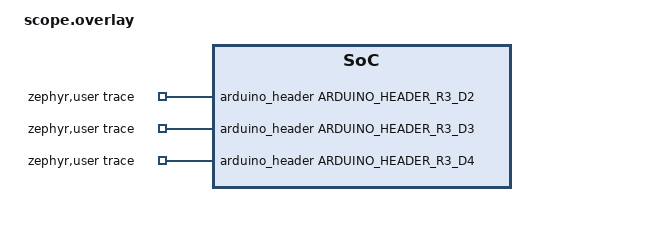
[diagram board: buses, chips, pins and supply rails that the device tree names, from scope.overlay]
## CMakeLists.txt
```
cmake_minimum_required(VERSION 3.20.0)

find_package(Zephyr REQUIRED HINTS $ENV{ZEPHYR_BASE})
project(priority_inversion)

# One demo; prj.conf selects which lock it uses (see Kconfig).
# For logic-analyser pins, build with -DEXTRA_DTC_OVERLAY_FILE=scope.overlay
target_sources(app PRIVATE src/main.c src/hml.c)
```

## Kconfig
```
# Application options for 08_priority_inversion.
# Change them in prj.conf; no code edits are needed for the experiments.

mainmenu "08_priority_inversion"

choice APP_LOCK
	prompt "What protects the resource that L and H share"
	default APP_LOCK_SEM

config APP_LOCK_SEM
	bool "A binary k_sem: no owner, no inheritance (unbounded inversion)"

config APP_LOCK_MUTEX
	bool "A k_mutex: priority inheritance (bounded inversion)"

config APP_LOCK_CEILING
	bool "A k_mutex plus an immediate priority ceiling done by hand"

endchoice

config APP_REPORT_PERIOD_MS
	int "The scenario repeats, and main prints its trace, every ... ms"
	default 3000
	range 1000 60000

config APP_DEBOUNCE_MS
	int "Ignore button edges closer than this to the last accepted one (ms, 0 = off)"
	default 50

config APP_UNIT_MS
	int "Length of one tick of Lesson 11's scenario (ms)"
	default 100
	range 10 1000
	help
	  The scenario is written in Lesson 11's ticks. 100 ms makes every
	  phase long enough to see on the LEDs.

# --- The scenario, in units (Lesson 11, worked scenario) ---

config APP_L_BEFORE
	int "L: work before the lock (units)"
	default 1

config APP_L_INSIDE
	int "L: work inside the lock (units)"
	default 4
	range 1 100

config APP_L_AFTER
	int "L: work after the lock (units)"
	default 1

config APP_H_RELEASE
	int "H is released at (units)"
	default 2

config APP_H_BEFORE
	int "H: work before the lock (units)"
	default 1

config APP_H_INSIDE
	int "H: work inside the lock (units)"
	default 2
	range 1 100

config APP_H_AFTER
	int "H: work after the lock (units)"
	default 1

config APP_M_RELEASE
	int "M is released at (units)"
	default 3

config APP_M_WORK
	int "M: work, never touching the lock (units)"
	default 6
	range 1 100

config APP_BUTTON_EXTRA
	int "The button gives M this much more work in the next cycle (units)"
	default 5

source "Kconfig.zephyr"
```

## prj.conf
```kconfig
# --- Drivers ---
CONFIG_GPIO=y

# --- Scheduling ---
# Lower number = higher priority. H 2, M 3, L 4.
# main() prints the trace of each cycle after it ends: least urgent.
CONFIG_MAIN_THREAD_PRIORITY=7
CONFIG_THREAD_NAME=y

# --- Timing measurements (the DWT cycle counter on the Cortex-M7) ---
CONFIG_TIMING_FUNCTIONS=y

# --- Debugging ---
CONFIG_ASSERT=y

# --- The lock: uncomment exactly one line ---
CONFIG_APP_LOCK_SEM=y
# CONFIG_APP_LOCK_MUTEX=y
# CONFIG_APP_LOCK_CEILING=y

# Experiment B1: cap priority inheritance (kernel option; default -127 = no cap).
# CONFIG_PRIORITY_CEILING=4

# --- Common options (see Kconfig) ---
CONFIG_APP_REPORT_PERIOD_MS=3000
CONFIG_APP_DEBOUNCE_MS=50

# --- The scenario (Lesson 11), in units of CONFIG_APP_UNIT_MS ---
CONFIG_APP_UNIT_MS=100
CONFIG_APP_L_BEFORE=1
CONFIG_APP_L_INSIDE=4
CONFIG_APP_L_AFTER=1
CONFIG_APP_H_RELEASE=2
CONFIG_APP_H_BEFORE=1
CONFIG_APP_H_INSIDE=2
CONFIG_APP_H_AFTER=1
CONFIG_APP_M_RELEASE=3
CONFIG_APP_M_WORK=6
CONFIG_APP_BUTTON_EXTRA=5
```

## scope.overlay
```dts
/*
 * Optional: three trace pins on the Arduino header, for a logic analyser
 * or an oscilloscope. Build with -DEXTRA_DTC_OVERLAY_FILE=scope.overlay
 *
 *   D2  high while H waits for the lock
 *   D3  high while L holds the lock
 *   D4  high from M's release until M is done
 */

#include <zephyr/dt-bindings/gpio/arduino-header-r3.h>

/ {
	zephyr,user {
		trace-gpios = <&arduino_header ARDUINO_HEADER_R3_D2 GPIO_ACTIVE_HIGH>,
			      <&arduino_header ARDUINO_HEADER_R3_D3 GPIO_ACTIVE_HIGH>,
			      <&arduino_header ARDUINO_HEADER_R3_D4 GPIO_ACTIVE_HIGH>;
	};
};
```

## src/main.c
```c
/*
 * 08_priority_inversion: common part
 * Board: STM32F769I-DISCO, Zephyr RTOS
 *
 * This file owns the hardware: the blue USER button, the red event LED
 * (LD1) and the green heartbeat LED (LD2). It sets them up, debounces the
 * button and forwards presses to the demo, and then runs at the lowest
 * priority, blinking the heartbeat and calling demo_report().
 *
 * The H/M/L scenario is in src/hml.c; prj.conf selects the lock it uses.
 *
 * Theory: resources/webpages/11_priority_inversion.html
 */

#include <zephyr/kernel.h>
#include <zephyr/drivers/gpio.h>
#include <zephyr/sys/printk.h>

#include "demo.h"

#define HEARTBEAT_PERIOD_MS 500

static const struct gpio_dt_spec button        = GPIO_DT_SPEC_GET(DT_ALIAS(sw0), gpios);
static const struct gpio_dt_spec event_led     = GPIO_DT_SPEC_GET(DT_ALIAS(led0), gpios);
static const struct gpio_dt_spec heartbeat_led = GPIO_DT_SPEC_GET(DT_ALIAS(led1), gpios);

static struct gpio_callback button_cb;

void event_led_toggle(void)
{
	gpio_pin_toggle_dt(&event_led);
}

void event_led_set(bool on)
{
	gpio_pin_set_dt(&event_led, on ? 1 : 0);
}

/* GPIO callback: on the STM32 this runs inside the EXTI interrupt. */
static void button_isr(const struct device *dev, struct gpio_callback *cb, uint32_t pins)
{
	ARG_UNUSED(dev);
	ARG_UNUSED(cb);

	if (!(pins & BIT(button.pin))) {
		return;
	}

#if CONFIG_APP_DEBOUNCE_MS > 0
	/*
	 * Contact bounce produces several edges per press. Accept an edge
	 * only if the last accepted one is at least DEBOUNCE_MS old. Only
	 * this ISR uses last_accepted, so no lock is needed.
	 */
	static int64_t last_accepted = -CONFIG_APP_DEBOUNCE_MS;
	int64_t now = k_uptime_get();

	if (now - last_accepted < CONFIG_APP_DEBOUNCE_MS) {
		return;
	}
	last_accepted = now;
#endif

	demo_button_pressed();
}

int main(void)
{
	int ret;

	if (!gpio_is_ready_dt(&button) || !gpio_is_ready_dt(&event_led) ||
	    !gpio_is_ready_dt(&heartbeat_led)) {
		printk("ERROR: GPIO device not ready\n");
		return 0;
	}

	ret = gpio_pin_configure_dt(&event_led, GPIO_OUTPUT_INACTIVE);
	ret |= gpio_pin_configure_dt(&heartbeat_led, GPIO_OUTPUT_INACTIVE);
	ret |= gpio_pin_configure_dt(&button, GPIO_INPUT);
	if (ret < 0) {
		printk("ERROR: could not configure GPIO pins\n");
		return 0;
	}

	ret = gpio_pin_interrupt_configure_dt(&button, GPIO_INT_EDGE_TO_ACTIVE);
	if (ret < 0) {
		printk("ERROR: could not configure button interrupt (%d)\n", ret);
		return 0;
	}

	gpio_init_callback(&button_cb, button_isr, BIT(button.pin));
	gpio_add_callback(button.port, &button_cb);

	printk("\n08_priority_inversion on %s\n", CONFIG_BOARD);
	demo_start();

	/* Heartbeat and periodic report, at the lowest priority. */
	int64_t next_report = k_uptime_get() + CONFIG_APP_REPORT_PERIOD_MS;

	while (1) {
		gpio_pin_toggle_dt(&heartbeat_led);
		k_msleep(HEARTBEAT_PERIOD_MS);

		if (k_uptime_get() >= next_report) {
			next_report += CONFIG_APP_REPORT_PERIOD_MS;
			demo_report();
		}
	}

	return 0;
}
```

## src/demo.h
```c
/*
 * The interface between main.c (hardware, heartbeat, reporting) and the
 * demo in hml.c. prj.conf selects which lock it uses.
 */
#ifndef DEMO_H_
#define DEMO_H_

#include <stdbool.h>

/* Implemented by the demo. */
void demo_start(void);           /* once, from main(), after the GPIO setup */
void demo_button_pressed(void);  /* from the button ISR (debounced): interrupt context */
void demo_report(void);          /* every CONFIG_APP_REPORT_PERIOD_MS, from main() */

/* Implemented by main.c. Both are safe to call from an ISR. */
void event_led_toggle(void);
void event_led_set(bool on);

#endif /* DEMO_H_ */
```

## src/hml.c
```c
/*
 * 08_priority_inversion: Lesson 11's H/M/L scenario, on the board
 *
 *   L (prio 4), released at 0: works 1, locks, works 4 inside, unlocks, works 1
 *   H (prio 2), released at 2: works 1, locks, works 2 inside, unlocks, works 1
 *   M (prio 3), released at 3: works 6, never touches the lock
 *
 * Times are in units of CONFIG_APP_UNIT_MS (100 ms). "Works" is CPU time:
 * k_busy_wait() in 1 ms chunks. Between chunks each task notices when it
 * was preempted, and when its priority changed, and writes that into a
 * trace. The scenario repeats every CONFIG_APP_REPORT_PERIOD_MS; after
 * each run, main prints the trace and H's response and blocking times.
 *
 * prj.conf selects the lock:
 *   APP_LOCK_SEM      a binary k_sem: unbounded inversion
 *   APP_LOCK_MUTEX    a k_mutex: priority inheritance, bounded
 *   APP_LOCK_CEILING  a k_mutex, and L and H raise themselves to the
 *                     ceiling (H's priority) for as long as they hold it
 */

#include <errno.h>
#include <zephyr/kernel.h>
#include <zephyr/drivers/gpio.h>
#include <zephyr/sys/atomic.h>
#include <zephyr/sys/printk.h>
#include <zephyr/sys/util.h>
#include <zephyr/timing/timing.h>

#include "demo.h"

#define STACK_SIZE   1024
#define H_PRIORITY   2
#define M_PRIORITY   3
#define L_PRIORITY   4
#define CEILING      H_PRIORITY      /* the highest priority of any user of the lock */

#define UNIT_MS      CONFIG_APP_UNIT_MS
#define CYCLE_MS     CONFIG_APP_REPORT_PERIOD_MS
#define FIRST_CYCLE  500             /* ms after start: never during a report */

/* ------------------------------------------------------------------ */
/* The lock                                                            */
/* ------------------------------------------------------------------ */

#if defined(CONFIG_APP_LOCK_SEM)
#define LOCK_NAME "k_sem (no owner, so no inheritance)"
K_SEM_DEFINE(lock_sem, 1, 1);
#else
#define LOCK_NAME (IS_ENABLED(CONFIG_APP_LOCK_CEILING) ? \
		   "k_mutex + immediate ceiling (priority " STRINGIFY(CEILING) " while held)" : \
		   "k_mutex (priority inheritance)")
K_MUTEX_DEFINE(lock_mutex);
#endif

/* ------------------------------------------------------------------ */
/* Optional trace pins (scope.overlay)                                 */
/* ------------------------------------------------------------------ */

#define ZEPHYR_USER DT_PATH(zephyr_user)

enum pin { PIN_H_WAITS, PIN_L_HOLDS, PIN_M_ACTIVE };

#if DT_NODE_HAS_PROP(ZEPHYR_USER, trace_gpios)
static const struct gpio_dt_spec trace_pin[] = {
	GPIO_DT_SPEC_GET_BY_IDX(ZEPHYR_USER, trace_gpios, 0),
	GPIO_DT_SPEC_GET_BY_IDX(ZEPHYR_USER, trace_gpios, 1),
	GPIO_DT_SPEC_GET_BY_IDX(ZEPHYR_USER, trace_gpios, 2),
};
#define HAVE_TRACE_PINS 1
#endif

static void pin_set(enum pin p, bool on)
{
#if defined(HAVE_TRACE_PINS)
	gpio_pin_set_dt(&trace_pin[p], on ? 1 : 0);
#else
	ARG_UNUSED(p);
	ARG_UNUSED(on);
#endif
	if (p == PIN_H_WAITS) {
		event_led_set(on);           /* red LED: H is waiting for the lock */
	}
}

/* ------------------------------------------------------------------ */
/* The trace                                                           */
/* ------------------------------------------------------------------ */

enum ev_kind { EV_RELEASED, EV_STARTS, EV_RESUMES, EV_PRIO, EV_WAITS, EV_LOCKS, EV_UNLOCKS,
	       EV_DONE };

struct event {
	uint32_t t_ms;                   /* from the start of the cycle */
	char who;
	int8_t prio;                     /* the task's priority at that moment */
	uint8_t kind;
	uint32_t arg;
};

#define MAX_EVENTS 48

static struct event trace[MAX_EVENTS];
static unsigned int n_events;
static atomic_t tasks_done;
static int64_t cycle_start;          /* ms since boot */
static uint32_t cycle_number;

/* Results of the last cycle, for the summary line. */
static uint32_t h_response_ms, h_blocked_us, h_work_ms;
static uint32_t worst_response_ms, worst_blocked_us, cycles_done;

static void log_event(char who, uint8_t kind, uint32_t arg, int64_t when)
{
	unsigned int key = irq_lock();

	if (n_events < MAX_EVENTS) {
		trace[n_events++] = (struct event){
			.t_ms = (uint32_t)(when - cycle_start),
			.who = who,
			.prio = (int8_t)k_thread_priority_get(k_current_get()),
			.kind = kind,
			.arg = arg,
		};
	}
	irq_unlock(key);
}

/* ------------------------------------------------------------------ */
/* The three tasks                                                     */
/* ------------------------------------------------------------------ */

struct task {
	char name;
	uint32_t release, before, inside, after;   /* units */
	bool uses_lock;
	int last_prio;
	int64_t last_run;                /* when the last 1 ms chunk ended */
	int saved_prio;                  /* ceiling: the priority to go back to */
};

static struct task task_l = { 'L', 0, CONFIG_APP_L_BEFORE, CONFIG_APP_L_INSIDE,
			      CONFIG_APP_L_AFTER, true };
static struct task task_h = { 'H', CONFIG_APP_H_RELEASE, CONFIG_APP_H_BEFORE,
			      CONFIG_APP_H_INSIDE, CONFIG_APP_H_AFTER, true };
static struct task task_m = { 'M', CONFIG_APP_M_RELEASE, CONFIG_APP_M_WORK, 0, 0, false };

static atomic_t extra_m_work;

/* Log a change of this task's priority (inheritance or ceiling). */
static void check_prio(struct task *t)
{
	int prio = k_thread_priority_get(k_current_get());

	if (prio != t->last_prio) {
		t->last_prio = prio;
		log_event(t->name, EV_PRIO, 0, k_uptime_get());
	}
}

/* CPU work, in 1 ms chunks. Notices preemption and priority changes. */
static void work(struct task *t, uint32_t units)
{
	for (uint32_t ms = 0; ms < units * UNIT_MS; ms++) {
		int64_t now = k_uptime_get();

		if (now - t->last_run > 2) {
			log_event(t->name, EV_RESUMES, (uint32_t)(now - t->last_run), now);
		}
		check_prio(t);
		k_busy_wait(1000);
		t->last_run = k_uptime_get();
	}
}

static void take_lock(struct task *t)
{
	timing_t start, end;
	uint32_t blocked_us = 0;

#if defined(CONFIG_APP_LOCK_CEILING)
	/* Immediate ceiling: raise to the ceiling BEFORE locking, every time. */
	t->saved_prio = k_thread_priority_get(k_current_get());
	k_thread_priority_set(k_current_get(), CEILING);
	check_prio(t);
#endif

#if defined(CONFIG_APP_LOCK_SEM)
	if (k_sem_take(&lock_sem, K_NO_WAIT) != 0) {
#else
	if (k_mutex_lock(&lock_mutex, K_NO_WAIT) != 0) {
#endif
		/* Taken by someone else: we will block. */
		log_event(t->name, EV_WAITS, 0, k_uptime_get());
		if (t == &task_h) {
			pin_set(PIN_H_WAITS, true);
		}
		start = timing_counter_get();
#if defined(CONFIG_APP_LOCK_SEM)
		k_sem_take(&lock_sem, K_FOREVER);
#else
		k_mutex_lock(&lock_mutex, K_FOREVER);
#endif
		end = timing_counter_get();
		blocked_us = (uint32_t)(timing_cycles_to_ns(timing_cycles_get(&start, &end)) / 1000U);
		if (t == &task_h) {
			pin_set(PIN_H_WAITS, false);
		}
	}

	t->last_run = k_uptime_get();    /* blocking is not preemption */
	if (t == &task_h) {
		h_blocked_us = blocked_us;
	}
	if (t == &task_l) {
		pin_set(PIN_L_HOLDS, true);
	}
	log_event(t->name, EV_LOCKS, blocked_us / 1000U, k_uptime_get());
}

static void give_lock(struct task *t)
{
	/*
	 * Log first: the unlock can hand the lock to H, which then runs at
	 * once, and this task may not run again for a long time.
	 */
	log_event(t->name, EV_UNLOCKS, 0, k_uptime_get());
	if (t == &task_l) {
		pin_set(PIN_L_HOLDS, false);
	}
#if defined(CONFIG_APP_LOCK_SEM)
	k_sem_give(&lock_sem);
#else
	k_mutex_unlock(&lock_mutex);             /* drops an inherited priority */
#endif
#if defined(CONFIG_APP_LOCK_CEILING)
	k_thread_priority_set(k_current_get(), t->saved_prio);   /* leave the ceiling */
#endif
	/* The next work() notices the new priority, and how long we were away. */
}

static void run_once(struct task *t, int64_t release)
{
	int64_t now = k_uptime_get();
	uint32_t before = t->before;

	if (t == &task_m) {
		before += (uint32_t)atomic_clear(&extra_m_work) * CONFIG_APP_BUTTON_EXTRA;
		pin_set(PIN_M_ACTIVE, true);
	}

	t->last_prio = k_thread_priority_get(k_current_get());
	log_event(t->name, EV_RELEASED, 0, release);
	if (now - release > 2) {
		log_event(t->name, EV_STARTS, (uint32_t)(now - release), now);
	}
	t->last_run = now;

	work(t, before);
	if (t->uses_lock) {
		take_lock(t);
		work(t, t->inside);
		give_lock(t);
		work(t, t->after);
	}

	now = k_uptime_get();
	log_event(t->name, EV_DONE, (uint32_t)(now - release), now);

	if (t == &task_h) {
		h_response_ms = (uint32_t)(now - release);
		h_work_ms = (t->before + t->inside + t->after) * UNIT_MS;
	}
	if (t == &task_m) {
		pin_set(PIN_M_ACTIVE, false);
	}
	atomic_inc(&tasks_done);
}

static int64_t t0;

/* Cycle n starts at t0 + FIRST_CYCLE + n x CYCLE_MS. */
static int64_t cycle_start_for(uint32_t n)
{
	return t0 + FIRST_CYCLE + (int64_t)n * CYCLE_MS;
}

static void task_thread(void *p1, void *p2, void *p3)
{
	struct task *t = p1;

	ARG_UNUSED(p2);
	ARG_UNUSED(p3);

	for (uint32_t n = 0;; n++) {
		int64_t release = cycle_start_for(n) + t->release * UNIT_MS;

		k_sleep(K_TIMEOUT_ABS_MS(release));
		run_once(t, release);
	}
}

K_THREAD_DEFINE(l_tid, STACK_SIZE, task_thread, &task_l, NULL, NULL,
		L_PRIORITY, 0, SYS_FOREVER_MS);
K_THREAD_DEFINE(m_tid, STACK_SIZE, task_thread, &task_m, NULL, NULL,
		M_PRIORITY, 0, SYS_FOREVER_MS);
K_THREAD_DEFINE(h_tid, STACK_SIZE, task_thread, &task_h, NULL, NULL,
		H_PRIORITY, 0, SYS_FOREVER_MS);

/* ------------------------------------------------------------------ */
/* Called by main.c                                                    */
/* ------------------------------------------------------------------ */

/* M gets more work in the next cycle. ISR context. */
void demo_button_pressed(void)
{
	atomic_set(&extra_m_work, 1);
}

void demo_start(void)
{
#if defined(HAVE_TRACE_PINS)
	for (int i = 0; i < ARRAY_SIZE(trace_pin); i++) {
		gpio_pin_configure_dt(&trace_pin[i], GPIO_OUTPUT_INACTIVE);
	}
#endif
	timing_init();
	timing_start();

	k_thread_name_set(l_tid, "L");
	k_thread_name_set(m_tid, "M");
	k_thread_name_set(h_tid, "H");

	printk("Lock: %s\n", LOCK_NAME);
	printk("Unit %d ms. L (prio %d) at 0: %d, lock %d, %d.  H (prio %d) at %d: %d, lock %d, %d.  "
	       "M (prio %d) at %d: %d\n",
	       UNIT_MS, L_PRIORITY, CONFIG_APP_L_BEFORE, CONFIG_APP_L_INSIDE, CONFIG_APP_L_AFTER,
	       H_PRIORITY, CONFIG_APP_H_RELEASE, CONFIG_APP_H_BEFORE, CONFIG_APP_H_INSIDE,
	       CONFIG_APP_H_AFTER, M_PRIORITY, CONFIG_APP_M_RELEASE, CONFIG_APP_M_WORK);
	printk("Inheritance cap CONFIG_PRIORITY_CEILING = %d\n", CONFIG_PRIORITY_CEILING);

	t0 = k_uptime_get();
	cycle_start = cycle_start_for(0);
	k_thread_start(l_tid);
	k_thread_start(m_tid);
	k_thread_start(h_tid);
}

static const char *what(const struct event *e, char *buf, size_t len)
{
	switch (e->kind) {
	case EV_RELEASED:
		return "released";
	case EV_STARTS:
		snprintk(buf, len, "starts running (was ready, not running, for %u ms)", e->arg);
		return buf;
	case EV_RESUMES:
		snprintk(buf, len, "resumes (was preempted for %u ms)", e->arg);
		return buf;
	case EV_PRIO:
		return "now runs at this priority";
	case EV_WAITS:
		return "waits for the lock";
	case EV_LOCKS:
		if (e->arg == 0) {
			return "locks";
		}
		snprintk(buf, len, "locks, after waiting %u ms", e->arg);
		return buf;
	case EV_UNLOCKS:
		return "unlocks";
	case EV_DONE:
		snprintk(buf, len, "done (response time %u ms)", e->arg);
		return buf;
	}
	return "?";
}

void demo_report(void)
{
	char buf[64];

	if (atomic_get(&tasks_done) < 3) {
		printk("[cycle %u] still running\n", cycle_number + 1);
		return;
	}

	/* Sort by time (insertion sort, stable): events are logged when a task
	 * runs, which can be after the moment they describe.
	 */
	for (unsigned int i = 1; i < n_events; i++) {
		struct event e = trace[i];
		unsigned int j = i;

		while (j > 0 && trace[j - 1].t_ms > e.t_ms) {
			trace[j] = trace[j - 1];
			j--;
		}
		trace[j] = e;
	}

	cycles_done++;
	worst_response_ms = MAX(worst_response_ms, h_response_ms);
	worst_blocked_us = MAX(worst_blocked_us, h_blocked_us);

	printk("[cycle %u] %s\n", cycle_number + 1, LOCK_NAME);
	for (unsigned int i = 0; i < n_events; i++) {
		const struct event *e = &trace[i];

		printk("  %5u ms  %c  prio %d  %s\n", e->t_ms, e->who, e->prio,
		       what(e, buf, sizeof(buf)));
	}
	printk("[cycle %u] H: response %u ms for %u ms of its own work, blocked on the lock "
	       "%u.%03u ms   (worst so far: %u ms, %u.%03u ms)\n",
	       cycle_number + 1, h_response_ms, h_work_ms,
	       h_blocked_us / 1000U, h_blocked_us % 1000U,
	       worst_response_ms, worst_blocked_us / 1000U, worst_blocked_us % 1000U);

	/* Get ready for the next cycle, which starts after this report. */
	unsigned int key = irq_lock();

	n_events = 0;
	h_blocked_us = 0;
	atomic_set(&tasks_done, 0);
	cycle_number++;
	cycle_start = cycle_start_for(cycle_number);
	irq_unlock(key);
}
```
